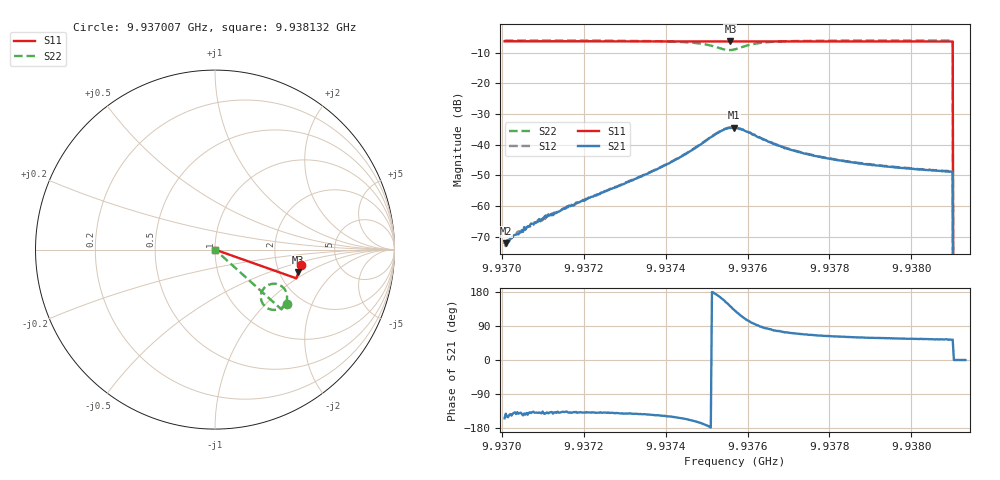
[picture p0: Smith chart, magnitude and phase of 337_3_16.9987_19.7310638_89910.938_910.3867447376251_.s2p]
#  HZ  S  RI  R  50.00
! Rohde & Schwarz Vector Network Analyzer
! Rohde-Schwarz,ZNB20-2Port,1311601062101988,3.16
! Created: UTC 3/20/2024, 11:07:10 PM
! freq[Hz]  re:S11  im:S11  re:S21  im:S21  re:S12  im:S12  re:S22  im:S22
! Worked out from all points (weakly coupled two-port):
!   401 points, 9.937007 GHz to 9.938132 GHz, reference 50 ohm
!   highest |S21| = -34.42 dB at 9.937567 GHz (marker M1); lowest = -72.2 dB at 9.937009 GHz (marker M2)
!   lowest |S11| = -6.4 dB at 9.937558 GHz (marker M3), VSWR 2.85, Z = 127 - j41 ohm
!   |S11| at or under -10 dB: 9.938101 GHz to end of sweep
!   |S22| runs from - to -6.0 dB; largest |S21 - S12| = 0.00062
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9.9370067e9  0.4764 -0.0885  -0.000225 -0.00011  -0.000205 -0.000119  0.3984 -0.3003
9.9370095e9  0.4765 -0.0888  -0.000193 -0.000153  -0.000199 -9.86e-05  0.3985 -0.3007
9.9370376e9  0.476 -0.0907  -0.000257 -0.000234  -0.000293 -0.000235  0.3965 -0.3026
9.9370573e9  0.4757 -0.092  -0.000333 -0.00024  -0.000323 -0.000263  0.395 -0.3039
9.9371079e9  0.4747 -0.0953  -0.000537 -0.000457  -0.000492 -0.000427  0.3913 -0.3077
9.9371305e9  0.4743 -0.097  -0.000571 -0.000515  -0.000578 -0.000511  0.3897 -0.3094
9.9371952e9  0.473 -0.1013  -0.000906 -0.000809  -0.000935 -0.000812  0.3836 -0.3144
9.9373837e9  0.4693 -0.114  -0.00343 -0.00231  -0.0035 -0.0023  0.3528 -0.3321
9.9374456e9  0.4676 -0.1183  -0.00621 -0.00294  -0.00633 -0.00284  0.3269 -0.3362
9.9374963e9  0.466 -0.1216  -0.0112 -0.00183  -0.0114 -0.00169  0.2864 -0.323
9.9375328e9  0.4645 -0.1235  -0.0159 0.00394  -0.0161 0.00429  0.2557 -0.271
9.9375582e9  0.4638 -0.1242  -0.0147 0.0115  -0.0148 0.0122  0.2753 -0.2127
9.9375666e9  0.4638 -0.1246  -0.0129 0.0139  -0.0128 0.0142  0.2929 -0.1991
9.9375694e9  0.464 -0.1246  -0.012 0.0143  -0.012 0.0147  0.2997 -0.196
9.9375891e9  0.464 -0.1254  -0.00676 0.0162  -0.00645 0.0163  0.3448 -0.1918
9.9376313e9  0.464 -0.1285  0.00048 0.0129  0.000609 0.013  0.3934 -0.2297
9.9376904e9  0.463 -0.1329  0.0026 0.00835  0.0027 0.0086  0.4016 -0.2697
9.9377579e9  0.4615 -0.1374  0.00274 0.00614  0.00288 0.0062  0.3964 -0.2925
9.9379465e9  0.4571 -0.15  0.00232 0.00369  0.00247 0.00368  0.3804 -0.3204
9.9380956e9  0.4531 -0.1596  0.00216 0.00296  0.00223 0.00296  0.3701 -0.3326
9.9381097e9  0 0  0 0  0 0  0 0
9.9381322e9  0 0  0 0  0 0  0 0
